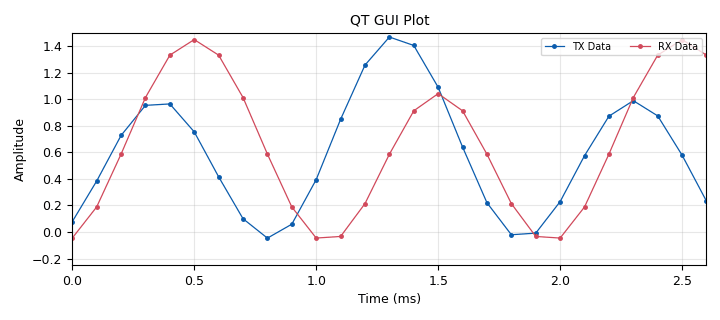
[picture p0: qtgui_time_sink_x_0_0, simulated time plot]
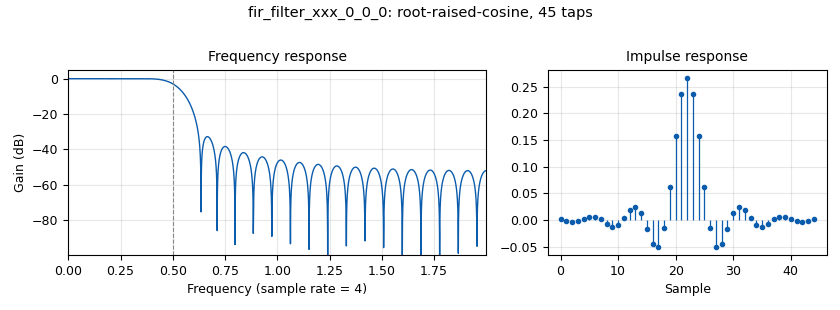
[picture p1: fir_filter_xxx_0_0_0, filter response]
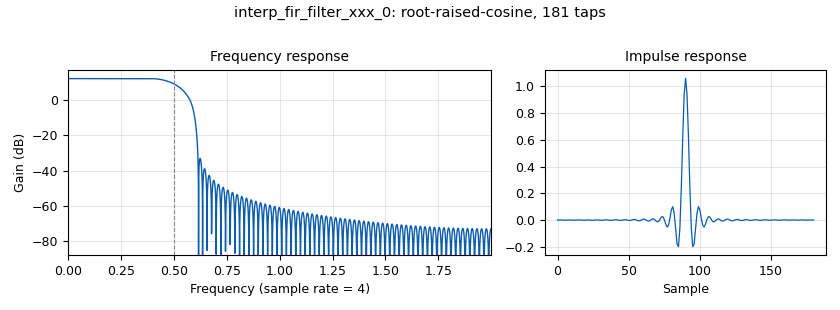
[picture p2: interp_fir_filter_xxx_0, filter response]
<?xml version='1.0' encoding='utf-8'?>
<?grc format='1' created='3.7.13'?>
<flow_graph>
<block>
<key>options</key>
<param><key>id</key><value>data_timming_offset</value></param>
<param><key>author</key><value>Andre Silva</value></param>
<param><key>generate_options</key><value>qt_gui</value></param>
</block>
<block>
<key>variable</key>
<param><key>id</key><value>eb</value></param>
<param><key>value</key><value>0.22</value></param>
</block>
<block>
<key>variable</key>
<param><key>id</key><value>ntaps</value></param>
<param><key>value</key><value>45</value></param>
</block>
<block>
<key>variable</key>
<param><key>id</key><value>rate</value></param>
<param><key>_enabled</key><value>0</value></param>
<param><key>value</key><value>1.25</value></param>
</block>
<block>
<key>variable</key>
<param><key>id</key><value>rate</value></param>
<param><key>_enabled</key><value>0</value></param>
<param><key>value</key><value>0.875</value></param>
</block>
<block>
<key>variable</key>
<param><key>id</key><value>rate</value></param>
<param><key>comment</key><value>NO CLOCK OFFSET, the usage of filters adds 
a liitle clock  so we adjust here the value</value></param>
<param><key>value</key><value>0.973</value></param>
</block>
<block>
<key>variable</key>
<param><key>id</key><value>rrc_rx</value></param>
<param><key>value</key><value>firdes.root_raised_cosine(1, sps, 1, eb, ntaps)</value></param>
</block>
<block>
<key>variable</key>
<param><key>id</key><value>rrc_tx</value></param>
<param><key>value</key><value>firdes.root_raised_cosine(sps, sps, 1, eb, sps*ntaps)</value></param>
</block>
<block>
<key>variable</key>
<param><key>id</key><value>samp_rate</value></param>
<param><key>value</key><value>10000</value></param>
</block>
<block>
<key>variable</key>
<param><key>id</key><value>sps</value></param>
<param><key>value</key><value>4</value></param>
</block>
<block>
<key>blocks_throttle</key>
<param><key>id</key><value>blocks_throttle_0</value></param>
<param><key>samples_per_second</key><value>samp_rate</value></param>
<param><key>type</key><value>float</value></param>
</block>
<block>
<key>blocks_vector_source_x</key>
<param><key>id</key><value>blocks_vector_source_x_0_0</value></param>
<param><key>type</key><value>float</value></param>
<param><key>repeat</key><value>False</value></param>
<param><key>vector</key><value>(0,1, 0,1,1,0,1, 0,1,1,0,1, 0,1,1,0,1, 0,1,1,0,1, 0,1,1,0,1, 0,1,1,0,1, 0,1,1,0,1, 0,1,1,0,1, 0,1,1,0,1, 0,1,1,0,1, 0,1,1)</value></param>
</block>
<block>
<key>fir_filter_xxx</key>
<param><key>id</key><value>fir_filter_xxx_0_0_0</value></param>
<param><key>decim</key><value>1</value></param>
<param><key>taps</key><value>rrc_rx</value></param>
<param><key>type</key><value>fff</value></param>
</block>
<block>
<key>interp_fir_filter_xxx</key>
<param><key>id</key><value>interp_fir_filter_xxx_0</value></param>
<param><key>interp</key><value>sps</value></param>
<param><key>taps</key><value>rrc_tx</value></param>
<param><key>type</key><value>fff</value></param>
</block>
<block>
<key>note</key>
<param><key>id</key><value>note_0</value></param>
<param><key>note</key><value>NO CLOCK OFFSET, the usage of filters adds a liitle clock  so we adjust here the value</value></param>
</block>
<block>
<key>note</key>
<param><key>id</key><value>note_0_0</value></param>
<param><key>note</key><value>BEHIND actual data</value></param>
</block>
<block>
<key>note</key>
<param><key>id</key><value>note_0_0_0</value></param>
<param><key>note</key><value>FORWARD actual data</value></param>
</block>
<block>
<key>pfb_arb_resampler_xxx</key>
<param><key>id</key><value>pfb_arb_resampler_xxx_0_0_1</value></param>
<param><key>nfilts</key><value>32</value></param>
<param><key>rrate</key><value>rate</value></param>
<param><key>atten</key><value>100</value></param>
<param><key>type</key><value>fff</value></param>
</block>
<block>
<key>qtgui_time_sink_x</key>
<param><key>id</key><value>qtgui_time_sink_x_0_0</value></param>
<param><key>gui_hint</key><value>0,1,1,1</value></param>
<param><key>color1</key><value>"green"</value></param>
<param><key>label1</key><value>TX Data</value></param>
<param><key>marker1</key><value>0</value></param>
<param><key>width1</key><value>2</value></param>
<param><key>color2</key><value>"red"</value></param>
<param><key>label2</key><value>RX Data</value></param>
<param><key>marker2</key><value>0</value></param>
<param><key>width2</key><value>2</value></param>
<param><key>name</key><value>QT GUI Plot</value></param>
<param><key>nconnections</key><value>2</value></param>
<param><key>size</key><value>27</value></param>
<param><key>srate</key><value>samp_rate</value></param>
<param><key>tr_delay</key><value>0.0002</value></param>
<param><key>tr_level</key><value>0.9</value></param>
<param><key>tr_mode</key><value>qtgui.TRIG_MODE_NORM</value></param>
<param><key>type</key><value>float</value></param>
<param><key>update_time</key><value>0.01</value></param>
<param><key>ymax</key><value>1.50</value></param>
<param><key>ymin</key><value>-0.25</value></param>
</block>
<connection><source_block_id>blocks_throttle_0</source_block_id><sink_block_id>interp_fir_filter_xxx_0</sink_block_id><source_key>0</source_key><sink_key>0</sink_key></connection>
<connection><source_block_id>blocks_vector_source_x_0_0</source_block_id><sink_block_id>blocks_throttle_0</sink_block_id><source_key>0</source_key><sink_key>0</sink_key></connection>
<connection><source_block_id>fir_filter_xxx_0_0_0</source_block_id><sink_block_id>qtgui_time_sink_x_0_0</sink_block_id><source_key>0</source_key><sink_key>0</sink_key></connection>
<connection><source_block_id>interp_fir_filter_xxx_0</source_block_id><sink_block_id>pfb_arb_resampler_xxx_0_0_1</sink_block_id><source_key>0</source_key><sink_key>0</sink_key></connection>
<connection><source_block_id>interp_fir_filter_xxx_0</source_block_id><sink_block_id>qtgui_time_sink_x_0_0</sink_block_id><source_key>0</source_key><sink_key>1</sink_key></connection>
<connection><source_block_id>pfb_arb_resampler_xxx_0_0_1</source_block_id><sink_block_id>fir_filter_xxx_0_0_0</sink_block_id><source_key>0</source_key><sink_key>0</sink_key></connection>
</flow_graph>
